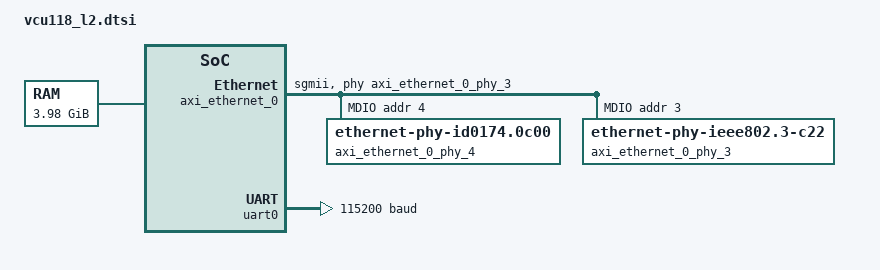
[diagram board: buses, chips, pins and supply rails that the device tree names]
// SPDX-License-Identifier: GPL-2.0
/*
 *  Copyright (C) 2026 Syntacore
 */

#include <dt-bindings/interrupt-controller/irq.h>

#include "scr_pma.h"
#include "scr_pmp.h"

/ {
	compatible = "syntacore,scr_sdk";
	#address-cells = <2>;
	#size-cells = <2>;

	chosen {

		opensbi-domains {
			compatible = "opensbi,domain,config";

			mcfg_reg: mcfg_reg {
				compatible = "opensbi,domain,memregion";
				base = <0xffffff 0xf0040000>;
				order = <13>;
				mmio;
			};

			dram_reg: dram_reg {
				compatible = "opensbi,domain,memregion";
				base = <0x0 0x0>;
				order = <32>;
			};

			dma_reg: dma_reg {
				compatible = "opensbi,domain,memregion";
				base = <0x00 0xff000000>;
				order = <24>;
				mmio;
			};

			mmio_reg: mmio_reg {
				compatible = "opensbi,domain,memregion";
				base = <0xffffff 0xff000000>;
				devices = <&uart0>;
				order = <23>;
				mmio;
			};
			plic_reg: plic_reg {
				compatible = "opensbi,domain,memregion";
				base = <0xffffff 0xfe000000>;
				devices = <&plic>;
				order = <25>;
				mmio;
			};

			tdomain: trusted-domain {
				compatible = "opensbi,domain,instance";
				possible-harts = <
					&cpu0
					&cpu1
					&cpu2
					&cpu3
#if SCR_OCTA_CORE
					&cpu4
					&cpu5
					&cpu6
					&cpu7
#endif
				>;

				regions =
					<&dma_reg (SCR_PMP_MMODE_READ | SCR_PMP_MMODE_WRITE |
						   SCR_PMP_SUMODE_READ | SCR_PMP_SUMODE_WRITE |
						   SCR_PMA_UNC)>,
					<&dram_reg (SCR_PMP_MMODE_READ | SCR_PMP_MMODE_WRITE | SCR_PMP_MMODE_EXECUTE |
						    SCR_PMP_SUMODE_READ | SCR_PMP_SUMODE_WRITE | SCR_PMP_SUMODE_EXECUTE)>,
					<&mcfg_reg (SCR_PMP_MMODE_READ | SCR_PMP_MMODE_WRITE |
						    SCR_PMP_SUMODE_READ |
						    SCR_PMA_MMIO)>,
					<&mmio_reg (SCR_PMP_MMODE_READ | SCR_PMP_MMODE_WRITE |
						    SCR_PMP_SUMODE_READ | SCR_PMP_SUMODE_WRITE |
						    SCR_PMA_UNC)>,
					<&plic_reg (SCR_PMP_MMODE_READ | SCR_PMP_MMODE_WRITE |
						    SCR_PMP_SUMODE_READ | SCR_PMP_SUMODE_WRITE |
						    SCR_PMA_UNC)>;
				system-reset-allowed;
				system-suspend-allowed;
			};
		};

		scr-root-domain {
			#address-cells = <2>;
			#size-cells = <2>;

			compatible = "syntacore,root-domain";

			ocram@ffffffffffff0000 {
				reg = <0xffffffff 0xffff0000 0x00 0x8000>;
				flags = <(SCR_PMP_MMODE_READ | SCR_PMP_MMODE_WRITE)>;
			};
		};
	};

	memory@0 {
		reg = <0x00 0x00 0x00 0xff000000>;
		device_type = "memory";
	};

	reserved-memory {
		ranges;
		#address-cells = <2>;
		#size-cells = <2>;

		linux,dma@0 {
			compatible = "shared-dma-pool";
			reg = <0x00 0xff000000 0x00 0x1000000>;
			linux,dma-default;
			no-map;
		};
	};

	clocks {
		sysclk: clk {
			compatible = "fixed-clock";
			#clock-cells = <0x00>;
			clock-frequency = <SYSCLK>;
		};
	};

	firmware {
		syntacore,bldid = "0000000000000000";
	};

	scr-fpga-reg {
		compatible = "syntacore,fpga-reg-v1";
		syntacore,buildid-reg = <0xffffff 0xff000000>;
		syntacore,sysclk-reg = <0xffffff 0xff001000>;
		syntacore,clsclk-reg = <0xffffff 0xff001000>;
	};

	soc {
		compatible = "simple-bus";
		device_type = "soc";
		ranges;
		#address-cells = <2>;
		#size-cells = <2>;
		bus-frequency = <SYSCLK>;
		dma-noncoherent;

		cluster_bus: cluster_bus {
			compatible = "simple-bus";
			ranges;
			#address-cells = <2>;
			#size-cells = <2>;

			iccm: iccm {
				compatible = "syntacore,iccm";
				mbox-mapping = <
					&cpu0 0
					&cpu1 1
					&cpu2 2
					&cpu3 3
#if SCR_OCTA_CORE
					&cpu4 4
					&cpu5 5
					&cpu6 6
					&cpu7 7
#endif
				>;
			};

			mtimer: timer@fffffff0040000 {
				compatible = "syntacore,mtimer";
				reg = <0xffffff 0xf0040000 0 0x1000>;
				clock-frequency = <SYSCLK>;
				interrupts-extended = <
					&cpu0_intc 7
					&cpu1_intc 7
					&cpu2_intc 7
					&cpu3_intc 7
#if SCR_OCTA_CORE
					&cpu4_intc 7
					&cpu5_intc 7
					&cpu6_intc 7
					&cpu7_intc 7
#endif
				>;
			};

			plic: interrupt-controller@fffffffe000000 {
				compatible = "syntacore,plic";
				reg = <0xffffff 0xfe000000 0 0x1000000>;
				reg-names = "control";

				#interrupt-cells = <2>;
				interrupt-controller;
				interrupts-extended = <
					&cpu0_intc 11 &cpu0_intc 9
					&cpu1_intc 11 &cpu1_intc 9
					&cpu2_intc 11 &cpu2_intc 9
					&cpu3_intc 11 &cpu3_intc 9
#if SCR_OCTA_CORE
					&cpu4_intc 11 &cpu4_intc 9
					&cpu5_intc 11 &cpu5_intc 9
					&cpu6_intc 11 &cpu6_intc 9
					&cpu7_intc 11 &cpu7_intc 9
#endif
				>;

				riscv,ndev = <16>;
				riscv,max-priority = <7>;
			};

			scr_l2_cache: cache-controller@fffffff0041000 {
				compatible = "syntacore,l2-cache";
				reg = <0xffffff 0xf0041000 0 0x1000>;
			};
		};

		axi_ethernet_0: ethernet@ffffffff040000 {
			compatible = "xlnx,axi-ethernet-1.00.a";
			reg = <0xffffff 0xff040000 0x00 0x40000>;
			device_type = "network";

			local-mac-address = [00 0a 35 04 D0 99];

			phy-handle = <&axi_ethernet_0_phy_3>;
			pcs-handle = <&axi_ethernet_0_phy_4>;
			phy-mode = "sgmii";
			managed = "in-band-status";

			xlnx,rxmem = <0x1000>;
			xlnx,rxcsum = <0x2>;
			xlnx,txcsum = <0x2>;

			axistream-connected = <&axi_ethernet_0_dma>;
			axistream-control-connected = <&axi_ethernet_0_dma>;

			mdio {
				#address-cells = <1>;
				#size-cells = <0>;

				axi_ethernet_0_phy_4: phy@4 {
					compatible = "ethernet-phy-id0174.0c00";
					reg = <4>;
				};

				axi_ethernet_0_phy_3: phy@3 {
					compatible = "ethernet-phy-ieee802.3-c22";
					reg = <3>;
					ti,fifo-depth = <0x3>;
					ti,sgmii-ref-clock-output-enable = <1>;
					ti,dp83867-rxctrl-strap-quirk = <1>;
				};
			};
		};


		axi_ethernet_0_dma: dma@ffffffff080000 {
			compatible = "xlnx,eth-dma";
			reg = <0xffffff 0xff080000 0x00 0x10000>;
			#dma-cells = <1>;
			clock-names = "s_axi_lite_aclk";
			axistream-connected = <&axi_ethernet_0>;
			axistream-control-connected = <&axi_ethernet_0>;
			xlnx,include-dre;
			interrupt-parent = <&plic>;
			interrupts = <3 IRQ_TYPE_LEVEL_HIGH>, <2 IRQ_TYPE_LEVEL_HIGH>;
			clocks = <&sysclk>;
			clock-frequency = <SYSCLK>;
		};

		uart0: serial@ffffffff010000 {
			compatible = "ns16550a";
			reg = <0xffffff 0xff010000 0x00 0x1000>;
			reg-io-width = <4>;
			reg-shift = <2>;
			current-speed = <115200>;
			interrupt-parent = <&plic>;
			interrupts = <1 IRQ_TYPE_LEVEL_HIGH>;
			clocks = <&sysclk>;
			clock-frequency = <SYSCLK>;
		};
	};
};

